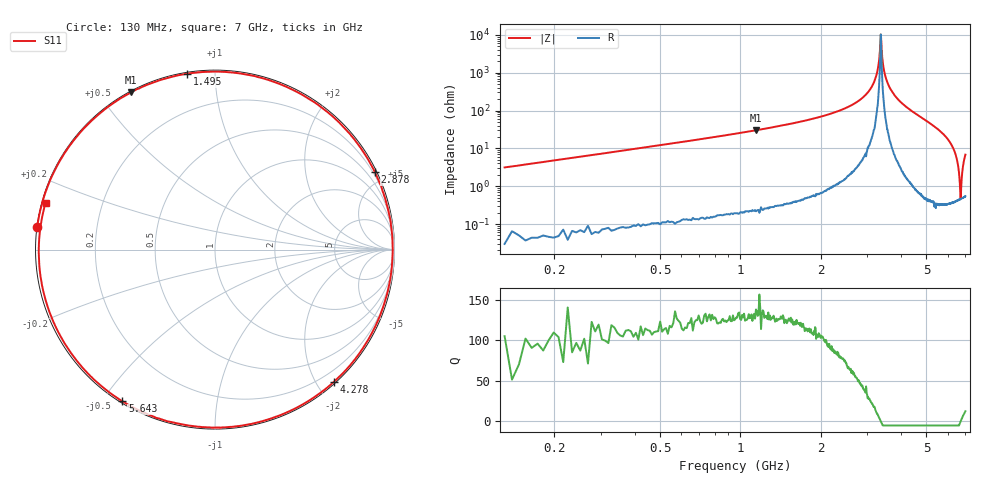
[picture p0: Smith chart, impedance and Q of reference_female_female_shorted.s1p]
!Created with skrf (http://scikit-rf.org).
# Hz S RI R 50.0
!freq ReS11 ImS11
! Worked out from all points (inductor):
!   801 points, 130 MHz to 7 GHz, reference 50 ohm
!   read as one part to ground: L = 3.8 nH near 164.3 MHz
!   highest Q = 132 at 1.143 GHz (marker M1), where L = 4.18 nH
!   self-resonance near 3.367 GHz
!   S11 on the Smith chart (normalised r, x): 130 MHz: 0.00, +0.06; 1.495 GHz: 0.01, +0.85; 2.878 GHz: 0.10, +4.36; 4.278 GHz: 0.03, -2.24; 5.643 GHz: 0.01, -0.56; 7 GHz: 0.01, +0.14
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1.3e8  -0.991 0.1246
3.275125e8  -0.949 0.307
5.422e8  -0.8662 0.4913
7.568875e8  -0.7488 0.6551
9.8875e8  -0.5887 0.8009
1.143325e9  -0.4663 0.8774
1.495412e9  -0.1567 0.9794
1.8475e9  0.1664 0.9771
2.045012e9  0.3413 0.9303
2.2597e9  0.5177 0.844
2.70625e9  0.8119 0.5661
2.878e9  0.8911 0.431
3.2215e9  0.9808 0.1338
3.565e9  0.9733 -0.1781
3.9085e9  0.8704 -0.4722
4.277762e9  0.6626 -0.7366
4.42375e9  0.5573 -0.8195
4.647025e9  0.376 -0.9174
4.861712e9  0.1858 -0.974
5.067812e9  -0.00506 -0.9912
5.2825e9  -0.2041 -0.9697
5.643175e9  -0.5162 -0.8449
5.892212e9  -0.6991 -0.6991
6.14125e9  -0.8425 -0.5146
6.364525e9  -0.9303 -0.3243
6.570625e9  -0.9736 -0.1367
6.776725e9  -0.9797 0.0561
7e9  -0.9435 0.261
